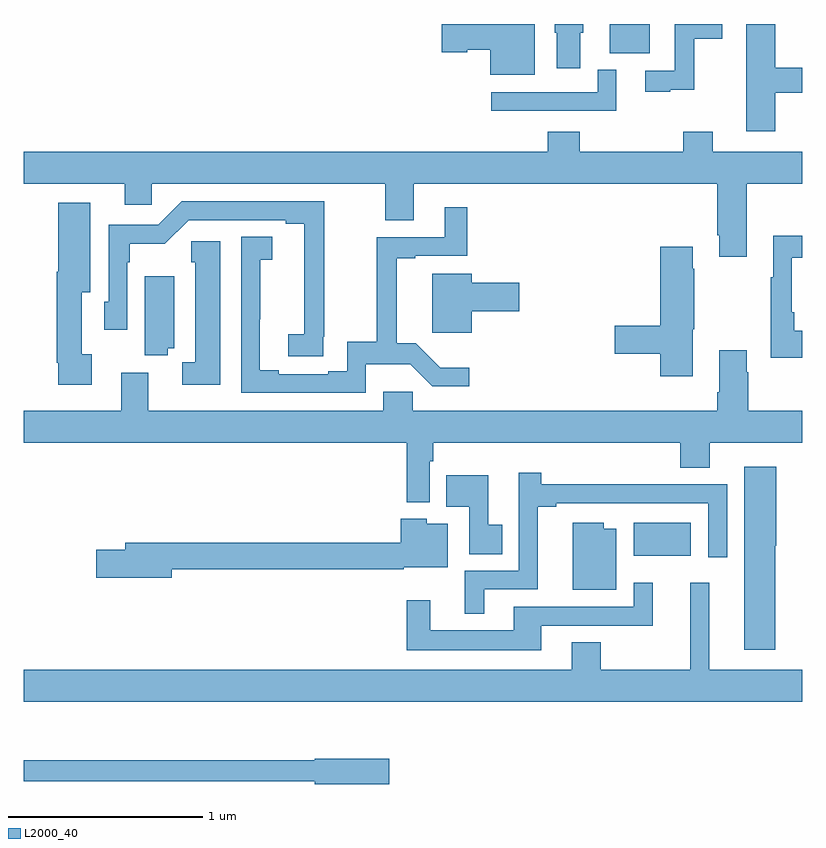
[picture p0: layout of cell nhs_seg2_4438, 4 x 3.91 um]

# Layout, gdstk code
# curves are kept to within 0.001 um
import gdstk
lib = gdstk.Library(unit=1e-6, precision=1e-09)
def R(c, l, rs):  # rectangles x0, y0, x1, y1
    for r in rs: c.add(gdstk.rectangle(r[:2], r[2:], *l))
def P(c, l, *ps):  # polygons
    for p in ps: c.add(gdstk.Polygon(p, *l))
L2000_40 = (2000, 40)

nhs_seg2_4438 = lib.new_cell('nhs_seg2_4438')
R(nhs_seg2_4438, L2000_40, [(354.134,635.066,354.427,635.236), (354.011,637.649,354.217,637.8)])
P(nhs_seg2_4438, L2000_40, [(354.863,637.446),(355,637.446),(355,637.574),(354.863,637.574),(354.863,637.8),(354.713,637.8),(354.713,637.248),(354.863,637.248)],
  [(353.626,637.8),(353.148,637.8),(353.148,637.655),(353.28,637.655),(353.28,637.667),(353.396,637.667),(353.396,637.538),(353.626,637.538)],
  [(354.323,637.463),(354.446,637.463),(354.446,637.723),(354.589,637.723),(354.589,637.8),(354.345,637.8),(354.345,637.56),(354.195,637.56),(354.195,637.452),(354.323,637.452)],
  [(353.86,637.755),(353.875,637.755),(353.875,637.8),(353.729,637.8),(353.729,637.755),(353.738,637.755),(353.738,637.572),(353.86,637.572)],
  [(354.046,637.564),(353.949,637.564),(353.949,637.449),(353.403,637.449),(353.403,637.353),(354.046,637.353)],
  [(354.715,636.98),(355,636.98),(355,637.144),(354.541,637.144),(354.541,637.246),(354.389,637.246),(354.389,637.144),(353.858,637.144),(353.858,637.246),(353.693,637.246),(353.693,637.144),(351,637.144),(351,636.98),(351.518,636.98),(351.518,636.87),(351.657,636.87),(351.657,636.98),(352.858,636.98),(352.858,636.79),(353.005,636.79),(353.005,636.98),(354.563,636.98),(354.563,636.715),(354.575,636.715),(354.575,636.603),(354.715,636.603)],
  [(352.538,636.193),(352.544,636.193),(352.544,636.888),(351.81,636.888),(351.69,636.768),(351.435,636.768),(351.435,636.372),(351.414,636.372),(351.414,636.228),(351.531,636.228),(351.531,636.575),(351.544,636.575),(351.544,636.671),(351.725,636.671),(351.846,636.792),(352.346,636.792),(352.346,636.772),(352.442,636.772),(352.441,636.206),(352.359,636.206),(352.359,636.091),(352.538,636.091)],
  [(351.349,636.102),(351.298,636.102),(351.298,636.422),(351.34,636.422),(351.34,636.88),(351.176,636.88),(351.176,636.526),(351.169,636.526),(351.169,636.058),(351.176,636.058),(351.176,635.946),(351.349,635.946)],
  [(352.758,636.05),(352.987,636.05),(353.1,635.937),(353.29,635.937),(353.29,636.034),(353.141,636.034),(353.015,636.16),(352.916,636.16),(352.916,636.597),(353.011,636.597),(353.011,636.609),(353.279,636.609),(353.279,636.859),(353.162,636.859),(353.162,636.705),(352.813,636.705),(352.813,636.167),(352.662,636.167),(352.662,636.014),(352.565,636.014),(352.565,636),(352.309,636),(352.309,636.02),(352.213,636.02),(352.213,636.283),(352.215,636.283),(352.215,636.587),(352.276,636.587),(352.276,636.707),(352.116,636.707),(352.116,635.904),(352.758,635.904)],
  [(355,636.223),(354.961,636.223),(354.961,636.319),(354.948,636.319),(354.948,636.599),(355,636.599),(355,636.712),(354.851,636.712),(354.851,636.499),(354.84,636.499),(354.84,636.083),(355,636.083)],
  [(352.009,636.682),(351.859,636.682),(351.859,636.576),(351.881,636.576),(351.881,636.06),(351.813,636.06),(351.813,635.945),(352.009,635.945)],
  [(354.439,636.231),(354.447,636.231),(354.447,636.542),(354.439,636.542),(354.439,636.655),(354.272,636.655),(354.272,636.248),(354.036,636.248),(354.036,636.106),(354.272,636.106),(354.272,635.988),(354.439,635.988)],
  [(353.302,636.323),(353.545,636.323),(353.545,636.47),(353.302,636.47),(353.302,636.517),(353.099,636.517),(353.099,636.212),(353.302,636.212)],
  [(351.74,636.134),(351.772,636.134),(351.772,636.502),(351.62,636.502),(351.62,636.097),(351.74,636.097)],
  [(353.085,635.552),(353.105,635.552),(353.105,635.648),(354.374,635.648),(354.374,635.518),(354.526,635.518),(354.526,635.648),(355,635.648),(355,635.812),(354.723,635.812),(354.723,636.011),(354.715,636.011),(354.715,636.124),(354.575,636.124),(354.575,635.908),(354.563,635.908),(354.563,635.812),(352.999,635.812),(352.999,635.91),(352.847,635.91),(352.847,635.812),(351.64,635.812),(351.64,636.007),(351.5,636.007),(351.5,635.812),(351,635.812),(351,635.648),(352.969,635.648),(352.969,635.342),(353.085,635.342)],
  [(354.863,635.118),(354.868,635.118),(354.868,635.524),(354.704,635.524),(354.704,634.584),(354.863,634.584)],
  [(353.365,634.893),(353.642,634.893),(353.642,635.317),(353.737,635.317),(353.737,635.337),(354.519,635.337),(354.519,635.058),(354.615,635.058),(354.615,635.433),(354.29,635.433),(354.29,635.435),(353.66,635.435),(353.66,635.494),(353.544,635.494),(353.544,634.989),(353.267,634.989),(353.267,634.769),(353.365,634.769)],
  [(353.459,635.226),(353.386,635.226),(353.386,635.479),(353.17,635.479),(353.17,635.318),(353.289,635.318),(353.289,635.074),(353.459,635.074)],
  [(351.76,634.996),(352.953,634.996),(352.953,635.006),(353.179,635.006),(353.179,635.23),(353.07,635.23),(353.07,635.257),(352.937,635.257),(352.937,635.132),(351.521,635.132),(351.521,635.096),(351.372,635.096),(351.372,634.954),(351.76,634.954)],
  [(354.046,635.206),(353.98,635.206),(353.98,635.236),(353.822,635.236),(353.822,634.892),(354.046,634.892)],
  [(355,634.48),(354.524,634.48),(354.524,634.927),(354.425,634.927),(354.425,634.48),(353.964,634.48),(353.964,634.622),(353.816,634.622),(353.816,634.48),(351,634.48),(351,634.316),(355,634.316)],
  [(353.659,634.707),(354.233,634.707),(354.233,634.927),(354.135,634.927),(354.135,634.803),(353.519,634.803),(353.519,634.684),(353.089,634.684),(353.089,634.837),(352.968,634.837),(352.968,634.58),(353.659,634.58)],
  [(352.879,634.023),(352.494,634.023),(352.494,634.015),(351,634.015),(351,633.906),(352.494,633.906),(352.494,633.893),(352.879,633.893)])

lib.write_gds('nhs_seg2_4438.gds')
